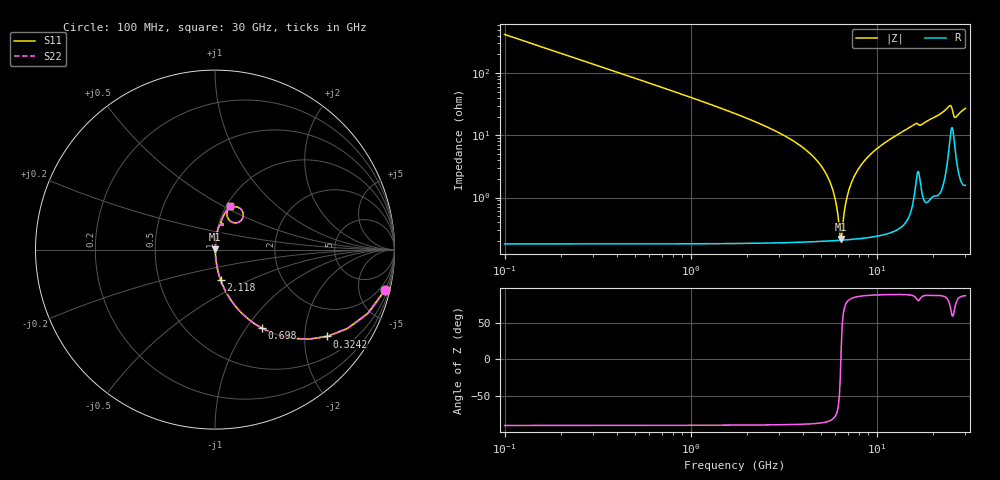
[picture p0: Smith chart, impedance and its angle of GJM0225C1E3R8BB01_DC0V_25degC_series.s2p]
!Murata Part Number: GJM0225C1E3R8BB01
!These Parameters are Measured in Series Mode Connection
!  o--ll--o
!Port1  Port2
!  o------o
!Operation Temp=25[degC], DC Bias Voltage=0[V]
!Freq. Start=100[MHz] Stop=30[GHz], 401[Steps]
!Data Generated on Feb 1, 2023
# Hz S RI R 50
!Freq.(Hz) S11(Real) S11(Imag) S21(Real) S21(Imag) S12(Real) S12(Imag) S22(Real) S22(Imag)
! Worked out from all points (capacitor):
!   401 points, 100 MHz to 30 GHz, reference 50 ohm
!   read as one part in series: C = 3.8 pF near 249.5 MHz
!   lowest |Z| = 216 mohm at 6.454 GHz (marker M1)
!   series resonance near 6.423 GHz, so ESL is about 160 pH
!   S11 on the Smith chart (normalised r, x): 100 MHz: 1.00, -8.37; 324.2 MHz: 1.00, -2.58; 698 MHz: 1.00, -1.19; 2.118 GHz: 1.00, -0.35; 30 GHz: 1.03, +0.54
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1e8  0.946 -0.2259  0.054 0.2259  0.054 0.2259  0.946 -0.2259
3.2425e8  0.6239 -0.4837  0.3761 0.4837  0.3761 0.4837  0.6239 -0.4837
6.98e8  0.2608 -0.4375  0.7392 0.4375  0.7392 0.4375  0.2608 -0.4375
1.22125e9  0.0998 -0.2971  0.9002 0.2971  0.9002 0.2971  0.0998 -0.2971
2.11825e9  0.0318 -0.1704  0.9682 0.1704  0.9682 0.1704  0.0318 -0.1704
4.1365e9  0.00542 -0.0589  0.9946 0.0589  0.9946 0.0589  0.00542 -0.0589
5.10825e9  0.00289 -0.0301  0.9971 0.0301  0.9971 0.0301  0.00289 -0.0301
5.85575e9  0.00217 -0.0121  0.9978 0.0121  0.9978 0.0121  0.00217 -0.0121
6.08e9  0.00209 -0.00716  0.9979 0.00716  0.9979 0.00716  0.00209 -0.00716
6.30425e9  0.00206 -0.00243  0.9979 0.00243  0.9979 0.00243  0.00206 -0.00243
6.45375e9  0.00206 0.000625  0.9979 -0.000625  0.9979 -0.000625  0.00206 0.000625
6.5285e9  0.00207 0.00213  0.9979 -0.00213  0.9979 -0.00213  0.00207 0.00213
6.90225e9  0.00218 0.00941  0.9978 -0.00941  0.9978 -0.00941  0.00218 0.00941
7.50025e9  0.00255 0.0204  0.9974 -0.0204  0.9974 -0.0204  0.00255 0.0204
8.54675e9  0.00367 0.0379  0.9963 -0.0379  0.9963 -0.0379  0.00367 0.0379
1.01165e10  0.00624 0.0618  0.9938 -0.0618  0.9938 -0.0618  0.00624 0.0618
1.505e10  0.0225 0.13  0.9775 -0.13  0.9775 -0.13  0.0225 0.13
2.005825e10  0.044 0.1795  0.956 -0.1795  0.956 -0.1795  0.044 0.1795
2.32725e10  0.0764 0.2272  0.9236 -0.2272  0.9236 -0.2272  0.0764 0.2272
2.50665e10  0.1547 0.2097  0.8453 -0.2097  0.8453 -0.2097  0.1547 0.2097
2.62625e10  0.0919 0.1543  0.9081 -0.1543  0.9081 -0.1543  0.0919 0.1543
3e10  0.0811 0.2455  0.9189 -0.2455  0.9189 -0.2455  0.0811 0.2455
